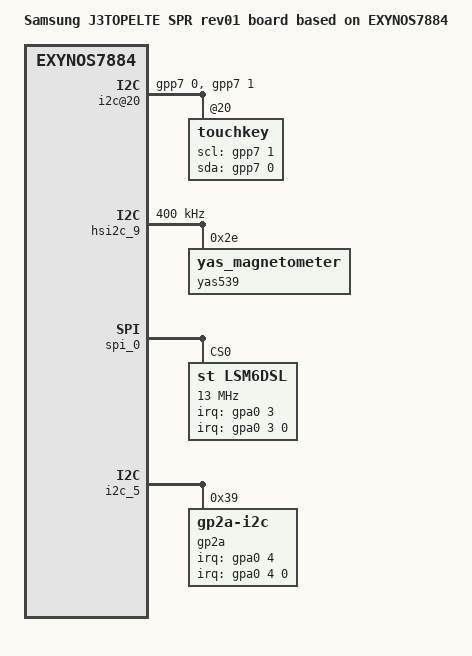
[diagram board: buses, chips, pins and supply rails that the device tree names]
/*
 * SAMSUNG UNIVERSAL7885 board device tree source
 *
 * Copyright (c) 2013 Samsung Electronics Co., Ltd.
 *		http://www.samsung.com
 *
 * This program is free software; you can redistribute it and/or modify
 * it under the terms of the GNU General Public License version 2 as
 * published by the Free Software Foundation.
*/

/dts-v1/;
#include "exynos7884-j3topelte_common.dtsi"
#include "exynos7884-j3topelte_usa_spr_gpio_01.dtsi"
#include "battery_data_j3topelte_usa_01.dtsi"

/ {
	model = "Samsung J3TOPELTE SPR rev01 board based on EXYNOS7884";
	model_info-chip = <7885>;
	model_info-platform = "android";
	model_info-subtype = "samsung";
	model_info-hw_rev = <1>;
	model_info-hw_rev_end = <1>;
	compatible = "samsung, J3TOPELTE SPR rev01", "samsung,Universal7884";

	i2c@20 {
		gpios = <&gpp7 0 0
				&gpp7 1 0>;
		touchkey@20 {
			coreriver,scl-gpio = <&gpp7 1 0>;
			coreriver,sda-gpio = <&gpp7 0 0>;
			coreriver,bringup = <1>;
		};
	};

	pinctrl@139B0000 {
		cfg_i2c: cfg-i2c {
			samsung,pins = "gpp7-1", "gpp7-0";
			samsung,pin-function = <2>;
			samsung,pin-pud = <0>;
			samsung,pin-drv = <0>;
		};
		cfg_gpio: cfg-gpio {
			samsung,pins = "gpp7-1", "gpp7-0";
			samsung,pin-function = <0>;
			samsung,pin-pud = <0>;
			samsung,pin-drv = <0>;
		};
	};

	sound {
		mixer-paths = "mixer_paths_r05.xml";
	};

	hsi2c_9: hsi2c@13990000 {
		status = "okay";
		#address-cells = <1>;
		#size-cells = <0>;
		clock-frequency = <400000>;
		pinctrl-names = "default";
		pinctrl-0 = <&hs_i2c9_bus>;

		yas539@2e {
			compatible = "yas_magnetometer";
			reg = <0x2e>;
			yas,orientation = <7>;
			yas,softiron = <10150 560 160 560 9250 160 160 160 10600>;
			yas,softiron_sign = <2 2 2 2 2 0 2 0 2>;
		};
	};

	spi_0: spi@13900000 {
		status = "okay";
		pinctrl-names = "default";
		pinctrl-0 = <&spi0_bus_acc>;

		lsm6dsl@0 {
			compatible = "st,lsm6dsl";
			reg = <0>;
			spi-max-frequency = <13000000>;
			gpio-controller;
			#gpio-cells = <2>;
			pinctrl-names = "default";
			pinctrl-0 = <&acc_int>;
			interrupt-parent = <&gpa0>;
			interrupts = <3 0 0>;
			st,irq_gpio = <&gpa0 3 0>;
			st,orientation = <1 2 1 2 1 1 1 1 0>;
			controller-data {
				samsung,spi-feedback-delay = <0>;
				samsung,spi-chip-select-mode = <0>;
			};
		};
	};

	i2c_5: i2c@13880000 {
		status = "okay";
		#address-cells = <1>;
		#size-cells = <0>;
		pinctrl-names = "default";
		pinctrl-0 = <&sensor_en &i2c5_bus>;

		gp2a@39 {
			compatible = "gp2a-i2c";
			reg = <0x39>;
			interrupt-parent = <&gpa0>;
			interrupts = <4 0 0>;
			pinctrl-names = "default";
			pinctrl-0 = <&prox_int>;
			gp2a,irq-gpio = <&gpa0 4 0x00>;
			gp2a,regulator_divided = <1>;
			gp2a,default_high_thd = <110>;
			gp2a,default_low_thd = <70>;
			gp2a,reg_intval = <0x03>;
			gp2a,reg_res_p = <0x20>;
			gp2a,reg_ledctrl = <0x24>;
			gp2a,reg_prst = <0x38>;
			gp2a,default_offset = <20>;
			gp2a,cancel_high_thd = <50>;
			gp2a,cancel_low_thd = <40>;
			gp2a,cal_skip_adc = <48>;
		};
	};

	cpufreq {
		domain@0 {
			max-freq = <1586000>;

			dm-constraints {
				mif-perf {
					table = < 1690000 1794000
						  1586000 1794000
						  1482000 1539000
						  1352000 1539000
						  1248000 1352000
						  1144000 1014000
						  1014000  845000
						   902000  676000
						   839000  676000
						   757000  546000
						   676000  546000
						   546000  420000
						   449000  420000
						   343000  420000
						   208000  420000>;
				};
			};
		};
	};

	devfreq_1: devfreq_int@17000020 {
		compatible = "samsung,exynos-devfreq";
		reg = <0x0 0x17000020 0x0>;
		devfreq_type = "int";
		devfreq_domain_name = "dvfs_int";

		/* Delay time */
		use_delay_time = "false";

		freq_info = <533000 107000 107000 107000 533000 533000>;
		/* <initial_freq, default_qos, suspend_freq, min, max, reboot_freq> */

		/* Booting value */
		boot_info = <40 533000>;
		/* boot_qos_timeout, boot_freq */

		/* default_dev_profile */
		use_get_dev = "false";
		polling_ms = <0>;

		/* governor data */
		gov_name = "interactive";
		use_reg = "false";

		use_tmu = "true";
		use_cl_dvfs = "false";
		use_sw_clk = "false";
		dfs_id = <ACPM_DVFS_INT>;
		acpm-ipc-channel = <1>;
		use_acpm = "true";
	};
};

